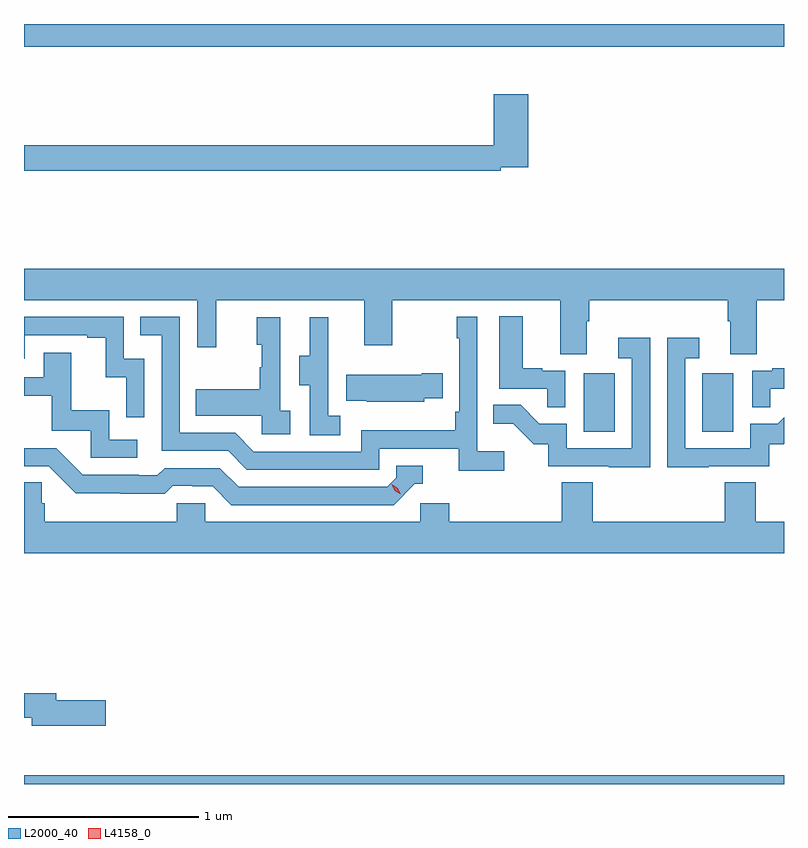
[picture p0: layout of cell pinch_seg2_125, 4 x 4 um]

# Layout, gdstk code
import gdstk
lib = gdstk.Library(unit=1e-6, precision=1e-09)
def R(c, l, rs):  # rectangles x0, y0, x1, y1
    for r in rs: c.add(gdstk.rectangle(r[:2], r[2:], *l))
def P(c, l, *ps):  # polygons
    for p in ps: c.add(gdstk.Polygon(p, *l))
L2000_40 = (2000, 40)
L4158_0 = (4158, 0)

pinch_seg2_125 = lib.new_cell('pinch_seg2_125')
R(pinch_seg2_125, L2000_40, [(1018.67,625.109,1022.67,625.156), (1021.616,626.964,1021.78,627.271), (1022.24,626.964,1022.404,627.271), (1018.67,628.988,1022.67,629.109)])
P(pinch_seg2_125, L2000_40, [(1021.178,628.356),(1021.325,628.356),(1021.325,628.738),(1021.142,628.738),(1021.142,628.472),(1018.67,628.472),(1018.67,628.336),(1021.178,628.336)],
  [(1021.633,627.544),(1021.646,627.544),(1021.646,627.656),(1022.375,627.656),(1022.375,627.544),(1022.387,627.544),(1022.387,627.37),(1022.527,627.37),(1022.527,627.656),(1022.67,627.656),(1022.67,627.82),(1018.67,627.82),(1018.67,627.656),(1019.583,627.656),(1019.583,627.408),(1019.681,627.408),(1019.681,627.656),(1020.461,627.656),(1020.461,627.417),(1020.609,627.417),(1020.609,627.656),(1021.493,627.656),(1021.493,627.37),(1021.633,627.37)],
  [(1021.518,627.285),(1021.397,627.285),(1021.397,627.298),(1021.294,627.298),(1021.294,627.571),(1021.172,627.571),(1021.172,627.189),(1021.423,627.189),(1021.423,627.091),(1021.518,627.091)],
  [(1021.198,626.86),(1021.056,626.86),(1021.056,627.568),(1020.948,627.568),(1020.948,627.455),(1020.96,627.455),(1020.96,627.067),(1020.94,627.067),(1020.94,626.971),(1020.444,626.971),(1020.444,626.859),(1019.88,626.859),(1019.781,626.958),(1019.49,626.958),(1019.49,627.567),(1019.281,627.567),(1019.281,627.471),(1019.394,627.471),(1019.394,626.862),(1019.744,626.862),(1019.843,626.763),(1020.54,626.763),(1020.54,626.874),(1020.959,626.874),(1020.959,626.758),(1021.198,626.758)],
  [(1019.304,627.348),(1019.196,627.348),(1019.196,627.567),(1018.67,627.567),(1018.67,627.348),(1018.674,627.348),(1018.674,627.471),(1019.003,627.471),(1019.003,627.459),(1019.099,627.459),(1019.099,627.251),(1019.208,627.251),(1019.208,627.039),(1019.304,627.039)],
  [(1020.07,627.074),(1020.018,627.074),(1020.018,627.565),(1019.894,627.565),(1019.894,627.42),(1019.92,627.42),(1019.92,627.302),(1019.91,627.302),(1019.91,627.187),(1019.575,627.187),(1019.575,627.047),(1019.922,627.047),(1019.922,626.949),(1020.07,626.949)],
  [(1020.334,627.047),(1020.27,627.047),(1020.27,627.351),(1020.272,627.351),(1020.272,627.565),(1020.173,627.565),(1020.173,627.363),(1020.119,627.363),(1020.119,627.208),(1020.174,627.208),(1020.174,626.944),(1020.334,626.944)],
  [(1021.965,627.457),(1021.797,627.457),(1021.797,627.351),(1021.869,627.351),(1021.869,626.877),(1021.527,626.877),(1021.527,627.006),(1021.382,627.006),(1021.284,627.104),(1021.141,627.104),(1021.141,627.005),(1021.245,627.005),(1021.352,626.898),(1021.429,626.898),(1021.429,626.781),(1021.747,626.781),(1021.747,626.776),(1021.965,626.776)],
  [(1022.273,626.781),(1022.592,626.781),(1022.592,626.898),(1022.668,626.898),(1022.67,626.9),(1022.67,627.039),(1022.637,627.006),(1022.493,627.006),(1022.493,626.877),(1022.151,626.877),(1022.151,627.351),(1022.224,627.351),(1022.224,627.457),(1022.055,627.457),(1022.055,626.776),(1022.273,626.776)],
  [(1019.266,626.922),(1019.118,626.922),(1019.118,627.076),(1018.919,627.076),(1018.919,627.379),(1018.775,627.379),(1018.775,627.249),(1018.67,627.249),(1018.67,627.153),(1018.817,627.153),(1018.817,626.967),(1019.022,626.967),(1019.022,626.826),(1019.266,626.826)],
  [(1022.597,627.189),(1022.67,627.189),(1022.67,627.298),(1022.609,627.298),(1022.609,627.285),(1022.502,627.285),(1022.502,627.091),(1022.597,627.091)],
  [(1020.777,627.14),(1020.875,627.14),(1020.875,627.27),(1020.764,627.27),(1020.764,627.262),(1020.367,627.262),(1020.367,627.125),(1020.475,627.125),(1020.475,627.122),(1020.777,627.122)],
  [(1020.726,626.688),(1020.769,626.688),(1020.769,626.784),(1020.63,626.784),(1020.63,626.721),(1020.582,626.673),(1019.799,626.673),(1019.7,626.772),(1019.411,626.772),(1019.372,626.733),(1019.273,626.733),(1019.273,626.736),(1018.98,626.736),(1018.839,626.877),(1018.67,626.877),(1018.67,626.781),(1018.8,626.781),(1018.942,626.639),(1019.178,626.639),(1019.178,626.637),(1019.411,626.637),(1019.453,626.679),(1019.556,626.679),(1019.556,626.676),(1019.663,626.676),(1019.762,626.577),(1020.615,626.577)],
  [(1022.67,626.488),(1022.522,626.488),(1022.522,626.696),(1022.357,626.696),(1022.357,626.488),(1021.664,626.488),(1021.664,626.696),(1021.499,626.696),(1021.499,626.488),(1020.908,626.488),(1020.908,626.586),(1020.756,626.586),(1020.756,626.488),(1019.625,626.488),(1019.625,626.586),(1019.475,626.586),(1019.475,626.488),(1018.778,626.488),(1018.778,626.586),(1018.763,626.586),(1018.763,626.696),(1018.67,626.696),(1018.67,626.324),(1022.67,626.324)],
  [(1019.101,625.55),(1018.84,625.55),(1018.84,625.586),(1018.67,625.586),(1018.67,625.458),(1018.712,625.458),(1018.712,625.415),(1019.101,625.415)])
P(pinch_seg2_125, L4158_0, [(1020.652,626.634),(1020.621,626.653),(1020.605,626.686),(1020.605,626.686),(1020.605,626.686),(1020.636,626.666),(1020.652,626.634),(1020.652,626.634)])

lib.write_gds('pinch_seg2_125.gds')
